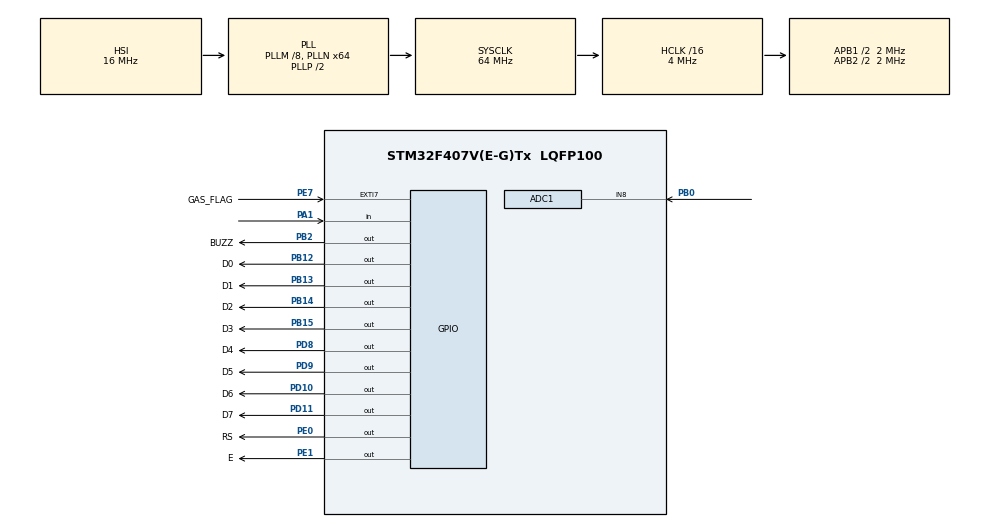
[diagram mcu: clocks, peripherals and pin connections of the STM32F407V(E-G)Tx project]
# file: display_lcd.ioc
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ADC1.Channel-1\#ChannelRegularConversion=ADC_CHANNEL_8
ADC1.NbrOfConversionFlag=1
ADC1.Rank-1\#ChannelRegularConversion=1
ADC1.SamplingTime-1\#ChannelRegularConversion=ADC_SAMPLETIME_3CYCLES
ADC1.master=1
IWDG.Prescaler=IWDG_PRESCALER_64
Mcu.Family=STM32F4
Mcu.Name=STM32F407V(E-G)Tx
Mcu.Package=LQFP100
NVIC.EXTI9_5_IRQn=true\:0\:0\:false\:false\:true\:true\:true
NVIC.PriorityGroup=NVIC_PRIORITYGROUP_4
PA1.Signal=GPIO_Input
PB0.Signal=ADCx_IN8
PB12.GPIO_Label=D0
PB12.Signal=GPIO_Output
PB13.GPIO_Label=D1
PB13.Signal=GPIO_Output
PB14.GPIO_Label=D2
PB14.Signal=GPIO_Output
PB15.GPIO_Label=D3
PB15.Signal=GPIO_Output
PB2.GPIO_Label=BUZZ
PB2.Signal=GPIO_Output
PD10.GPIO_Label=D6
PD10.Signal=GPIO_Output
PD11.GPIO_Label=D7
PD11.Signal=GPIO_Output
PD8.GPIO_Label=D4
PD8.Signal=GPIO_Output
PD9.GPIO_Label=D5
PD9.Signal=GPIO_Output
PE0.GPIO_Label=RS
PE0.Signal=GPIO_Output
PE1.GPIO_Label=E
PE1.Signal=GPIO_Output
PE7.GPIO_Label=GAS_FLAG
PE7.Signal=GPXTI7
ProjectManager.HeapSize=0x200
ProjectManager.StackSize=0x400
ProjectManager.TargetToolchain=MDK-ARM V5
RCC.48MHZClocksFreq_Value=32000000
RCC.AHBCLKDivider=RCC_SYSCLK_DIV16
RCC.AHBFreq_Value=4000000
RCC.APB1CLKDivider=RCC_HCLK_DIV2
RCC.APB1Freq_Value=2000000
RCC.APB1TimFreq_Value=4000000
RCC.APB2CLKDivider=RCC_HCLK_DIV2
RCC.APB2Freq_Value=2000000
RCC.APB2TimFreq_Value=4000000
RCC.CortexFreq_Value=4000000
RCC.HCLKFreq_Value=4000000
RCC.HSE_VALUE=25000000
RCC.HSI_VALUE=16000000
RCC.LSE_VALUE=32768
RCC.PLLM=8
RCC.PLLN=64
RCC.SYSCLKFreq_VALUE=64000000
RCC.SYSCLKSource=RCC_SYSCLKSOURCE_PLLCLK
RCC.VCOOutputFreq_Value=128000000
SH.ADCx_IN8.0=ADC1_IN8,IN8
VP_IWDG_VS_IWDG.Mode=IWDG_Activate
board=custom

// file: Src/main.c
/* USER CODE BEGIN Header */
/**
  ******************************************************************************
  * @file           : main.c
  * @brief          : Main program body
  ******************************************************************************
  * @attention
  *
  * <h2><center>&copy; Copyright (c) 2019 STMicroelectronics.
  * All rights reserved.</center></h2>
  *
  * This software component is licensed by ST under BSD 3-Clause license,
  * the "License"; You may not use this file except in compliance with the
  * License. You may obtain a copy of the License at:
  *                        opensource.org/licenses/BSD-3-Clause
  *
  ******************************************************************************
  */
/* USER CODE END Header */

#include "main.h"

/* USER CODE BEGIN Includes */
#include "LCD_Display.h"
#include "DHT11.h"
/* USER CODE END Includes */

ADC_HandleTypeDef hadc1;

IWDG_HandleTypeDef hiwdg;

/* USER CODE BEGIN PV */
struct dht11_measurements dht11ms;
/* USER CODE END PV */

void SystemClock_Config(void);
static void MX_GPIO_Init(void);
static void MX_ADC1_Init(void);
static void MX_IWDG_Init(void);

int main(void)
{

  /* MCU Configuration--------------------------------------------------------*/

  /* Reset of all peripherals, Initializes the Flash interface and the Systick. */
  HAL_Init();

  /* Configure the system clock */
  SystemClock_Config();

  /* Initialize all configured peripherals */
  MX_GPIO_Init();
  MX_ADC1_Init();
  /* USER CODE BEGIN 2 */

	//int val;
	LCD1602_setGPIOPorts(RS_GPIO_Port, RS_Pin, E_Pin, D0_GPIO_Port, D0_Pin, D1_Pin, D2_Pin, D3_Pin, D4_GPIO_Port, D4_Pin, D5_Pin, D6_Pin, D7_Pin);
	LCD1602_Begin8BIT();
	DWT_Delay_Init();
	dht11_measurements_init(&dht11ms);

  /* USER CODE END 2 */

  /* Infinite loop */
  /* USER CODE BEGIN WHILE */

	HAL_GPIO_EXTI_IRQHandler(GAS_FLAG_Pin);
	MX_IWDG_Init();
  while (1)
  {
		HAL_IWDG_Refresh(&hiwdg);
		hiwdg.Instance->PR = hiwdg.Init.Prescaler;
		hiwdg.Instance->RLR = hiwdg.Init.Reload;
		//IWDG->KR=0xAA;
		dht11_measurements_addvalue(&dht11ms);
		HAL_GPIO_WritePin(GPIOB,BUZZ_Pin,GPIO_PIN_RESET);
		print_dht11_measurements(&dht11ms);
    /* USER CODE END WHILE */

  }
}

void SystemClock_Config(void)
{
  RCC_OscInitTypeDef RCC_OscInitStruct = {0};
  RCC_ClkInitTypeDef RCC_ClkInitStruct = {0};

  /** Configure the main internal regulator output voltage
  */
  __HAL_RCC_PWR_CLK_ENABLE();
  __HAL_PWR_VOLTAGESCALING_CONFIG(PWR_REGULATOR_VOLTAGE_SCALE1);
  /** Initializes the CPU, AHB and APB busses clocks
  */
  RCC_OscInitStruct.OscillatorType = RCC_OSCILLATORTYPE_HSI|RCC_OSCILLATORTYPE_LSI;
  RCC_OscInitStruct.HSIState = RCC_HSI_ON;
  RCC_OscInitStruct.HSICalibrationValue = RCC_HSICALIBRATION_DEFAULT;
  RCC_OscInitStruct.LSIState = RCC_LSI_ON;
  RCC_OscInitStruct.PLL.PLLState = RCC_PLL_ON;
  RCC_OscInitStruct.PLL.PLLSource = RCC_PLLSOURCE_HSI;
  RCC_OscInitStruct.PLL.PLLM = 8;
  RCC_OscInitStruct.PLL.PLLN = 64;
  RCC_OscInitStruct.PLL.PLLP = RCC_PLLP_DIV2;
  RCC_OscInitStruct.PLL.PLLQ = 4;
  if (HAL_RCC_OscConfig(&RCC_OscInitStruct) != HAL_OK)
  {
    Error_Handler();
  }
  /** Initializes the CPU, AHB and APB busses clocks
  */
  RCC_ClkInitStruct.ClockType = RCC_CLOCKTYPE_HCLK|RCC_CLOCKTYPE_SYSCLK
                              |RCC_CLOCKTYPE_PCLK1|RCC_CLOCKTYPE_PCLK2;
  RCC_ClkInitStruct.SYSCLKSource = RCC_SYSCLKSOURCE_PLLCLK;
  RCC_ClkInitStruct.AHBCLKDivider = RCC_SYSCLK_DIV16;
  RCC_ClkInitStruct.APB1CLKDivider = RCC_HCLK_DIV2;
  RCC_ClkInitStruct.APB2CLKDivider = RCC_HCLK_DIV2;

  if (HAL_RCC_ClockConfig(&RCC_ClkInitStruct, FLASH_LATENCY_0) != HAL_OK)
  {
    Error_Handler();
  }
}

static void MX_ADC1_Init(void)
{

  ADC_ChannelConfTypeDef sConfig = {0};

  /** Configure the global features of the ADC (Clock, Resolution, Data Alignment and number of conversion)
  */
  hadc1.Instance = ADC1;
  hadc1.Init.ClockPrescaler = ADC_CLOCK_SYNC_PCLK_DIV2;
  hadc1.Init.Resolution = ADC_RESOLUTION_12B;
  hadc1.Init.ScanConvMode = DISABLE;
  hadc1.Init.ContinuousConvMode = DISABLE;
  hadc1.Init.DiscontinuousConvMode = DISABLE;
  hadc1.Init.ExternalTrigConvEdge = ADC_EXTERNALTRIGCONVEDGE_NONE;
  hadc1.Init.ExternalTrigConv = ADC_SOFTWARE_START;
  hadc1.Init.DataAlign = ADC_DATAALIGN_RIGHT;
  hadc1.Init.NbrOfConversion = 1;
  hadc1.Init.DMAContinuousRequests = DISABLE;
  hadc1.Init.EOCSelection = ADC_EOC_SINGLE_CONV;
  if (HAL_ADC_Init(&hadc1) != HAL_OK)
  {
    Error_Handler();
  }
  /** Configure for the selected ADC regular channel its corresponding rank in the sequencer and its sample time.
  */
  sConfig.Channel = ADC_CHANNEL_8;
  sConfig.Rank = 1;
  sConfig.SamplingTime = ADC_SAMPLETIME_3CYCLES;
  if (HAL_ADC_ConfigChannel(&hadc1, &sConfig) != HAL_OK)
  {
    Error_Handler();
  }

}

static void MX_IWDG_Init(void)
{

  hiwdg.Instance = IWDG;
  hiwdg.Init.Prescaler = IWDG_PRESCALER_64;
  hiwdg.Init.Reload = 4095;
  if (HAL_IWDG_Init(&hiwdg) != HAL_OK)
  {
    Error_Handler();
  }

}

static void MX_GPIO_Init(void)
{
  GPIO_InitTypeDef GPIO_InitStruct = {0};

  /* GPIO Ports Clock Enable */
  __HAL_RCC_GPIOA_CLK_ENABLE();
  __HAL_RCC_GPIOB_CLK_ENABLE();
  __HAL_RCC_GPIOE_CLK_ENABLE();
  __HAL_RCC_GPIOD_CLK_ENABLE();

  /*Configure GPIO pin Output Level */
  HAL_GPIO_WritePin(GPIOB, BUZZ_Pin|D0_Pin|D1_Pin|D2_Pin
                          |D3_Pin, GPIO_PIN_RESET);

  /*Configure GPIO pin Output Level */
  HAL_GPIO_WritePin(GPIOD, D4_Pin|D5_Pin|D6_Pin|D7_Pin, GPIO_PIN_RESET);

  /*Configure GPIO pin Output Level */
  HAL_GPIO_WritePin(GPIOE, RS_Pin|E_Pin, GPIO_PIN_RESET);

  /*Configure GPIO pin : PA1 */
  GPIO_InitStruct.Pin = GPIO_PIN_1;
  GPIO_InitStruct.Mode = GPIO_MODE_INPUT;
  GPIO_InitStruct.Pull = GPIO_NOPULL;
  HAL_GPIO_Init(GPIOA, &GPIO_InitStruct);

  /*Configure GPIO pins : BUZZ_Pin D0_Pin D1_Pin D2_Pin
                           D3_Pin */
  GPIO_InitStruct.Pin = BUZZ_Pin|D0_Pin|D1_Pin|D2_Pin
                          |D3_Pin;
  GPIO_InitStruct.Mode = GPIO_MODE_OUTPUT_PP;
  GPIO_InitStruct.Pull = GPIO_NOPULL;
  GPIO_InitStruct.Speed = GPIO_SPEED_FREQ_LOW;
  HAL_GPIO_Init(GPIOB, &GPIO_InitStruct);

  /*Configure GPIO pin : GAS_FLAG_Pin */
  GPIO_InitStruct.Pin = GAS_FLAG_Pin;
  GPIO_InitStruct.Mode = GPIO_MODE_IT_RISING;
  GPIO_InitStruct.Pull = GPIO_NOPULL;
  HAL_GPIO_Init(GAS_FLAG_GPIO_Port, &GPIO_InitStruct);

  /*Configure GPIO pins : D4_Pin D5_Pin D6_Pin D7_Pin */
  GPIO_InitStruct.Pin = D4_Pin|D5_Pin|D6_Pin|D7_Pin;
  GPIO_InitStruct.Mode = GPIO_MODE_OUTPUT_PP;
  GPIO_InitStruct.Pull = GPIO_NOPULL;
  GPIO_InitStruct.Speed = GPIO_SPEED_FREQ_LOW;
  HAL_GPIO_Init(GPIOD, &GPIO_InitStruct);

  /*Configure GPIO pins : RS_Pin E_Pin */
  GPIO_InitStruct.Pin = RS_Pin|E_Pin;
  GPIO_InitStruct.Mode = GPIO_MODE_OUTPUT_PP;
  GPIO_InitStruct.Pull = GPIO_NOPULL;
  GPIO_InitStruct.Speed = GPIO_SPEED_FREQ_LOW;
  HAL_GPIO_Init(GPIOE, &GPIO_InitStruct);

  /* EXTI interrupt init*/
  HAL_NVIC_SetPriority(EXTI9_5_IRQn, 0, 0);
  HAL_NVIC_EnableIRQ(EXTI9_5_IRQn);

}

void Error_Handler(void)
{
}

/************************ (C) COPYRIGHT STMicroelectronics *****END OF FILE****/
